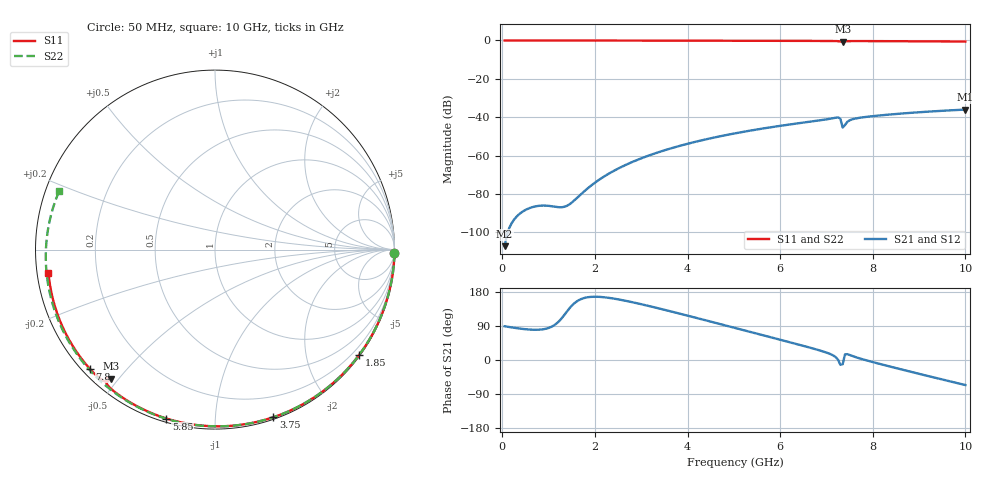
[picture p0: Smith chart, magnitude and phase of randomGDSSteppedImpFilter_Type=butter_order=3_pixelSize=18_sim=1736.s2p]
! freq	dB(S11)	phase(S11)	dB(S12)	phase(S12)
!  dB(S21)	phase(S21)	dB(S22)	phase(S22)
!S-par simulation data
#  GHz  S  DB  R 50
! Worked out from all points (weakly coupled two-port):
!   200 points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, 50 MHz to 10 GHz, reference 50 ohm
!   highest |S21| = -36.05 dB at 10 GHz (marker M1); lowest = -107.3 dB at 50 MHz (marker M2)
!   lowest |S11| = -0.7 dB at 7.35 GHz (marker M3), VSWR 25.58, Z = 2.4 - j23.8 ohm
!   |S11| at or under -10 dB: nowhere
!   |S22| runs from -0.7 to 0.0 dB; largest |S21 - S12| = 0
!   S11 on the Smith chart (normalised r, x): 50 MHz: open; 1.85 GHz: 0.03, -3.08; 3.75 GHz: 0.02, -1.41; 5.85 GHz: 0.02, -0.75; 7.8 GHz: 0.02, -0.40; 10 GHz: 0.03, -0.07
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0.05  -0.00 -1.0  -107.28 89.0  -107.28 89.0  -0.00 -1.1
0.85  -0.02 -16.8  -86.13 80.6  -86.13 80.6  -0.02 -18.2
1.7  -0.04 -33.2  -80.18 160.7  -80.18 160.7  -0.05 -36.0
1.75  -0.04 -34.1  -79.09 162.9  -79.09 162.9  -0.05 -37.1
1.85  -0.05 -36.0  -77.01 165.7  -77.01 165.7  -0.05 -39.1
2.15  -0.05 -41.7  -71.68 166.1  -71.68 166.1  -0.06 -45.3
2.5  -0.06 -48.2  -66.83 160.1  -66.83 160.1  -0.07 -52.4
2.9  -0.07 -55.6  -62.44 150.0  -62.44 150.0  -0.08 -60.4
3.4  -0.09 -64.6  -58.06 135.6  -58.06 135.6  -0.09 -70.3
3.75  -0.10 -70.8  -55.51 124.9  -55.51 124.9  -0.10 -77.1
4.4  -0.12 -82.0  -51.55 104.5  -51.55 104.5  -0.13 -89.5
5.05  -0.14 -92.9  -48.33 83.8  -48.33 83.8  -0.16 -101.6
5.85  -0.18 -106.0  -45.08 58.3  -45.08 58.3  -0.20 -116.4
6.7  -0.23 -119.7  -42.18 30.7  -42.18 30.7  -0.26 -132.0
7.25  -0.38 -129.4  -40.11 0.6  -40.11 0.6  -0.31 -142.3
7.3  -0.57 -130.3  -40.80 -12.7  -40.80 -12.7  -0.31 -143.3
7.35  -0.68 -128.9  -45.38 -11.2  -45.38 -11.2  -0.32 -144.2
7.5  -0.34 -131.2  -41.64 13.2  -41.64 13.2  -0.33 -147.0
7.8  -0.33 -136.4  -40.04 1.2  -40.04 1.2  -0.36 -152.8
8.35  -0.37 -145.2  -38.66 -16.6  -38.66 -16.6  -0.42 -163.7
9.2  -0.47 -158.8  -37.11 -42.5  -37.11 -42.5  -0.53 178.3
10  -0.57 -172.1  -36.05 -66.1  -36.05 -66.1  -0.65 159.5
